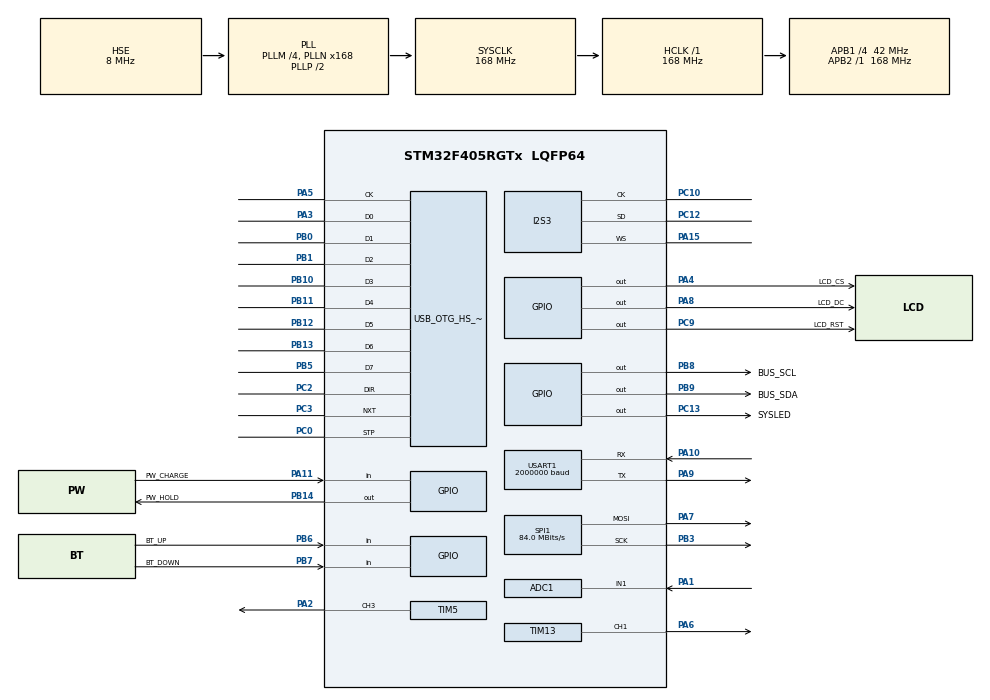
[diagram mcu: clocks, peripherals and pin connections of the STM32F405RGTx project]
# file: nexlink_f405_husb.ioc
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ADC1.Channel-0\#ChannelRegularConversion=ADC_CHANNEL_1
ADC1.ExternalTrigConv=ADC_SOFTWARE_START
ADC1.NbrOfConversionFlag=1
ADC1.Rank-0\#ChannelRegularConversion=1
ADC1.SamplingTime-0\#ChannelRegularConversion=ADC_SAMPLETIME_3CYCLES
ADC1.master=1
Dma.Request0=SPI1_TX
Dma.Request1=SPI3_RX
Dma.SPI1_TX.0.Direction=DMA_MEMORY_TO_PERIPH
Dma.SPI1_TX.0.FIFOMode=DMA_FIFOMODE_DISABLE
Dma.SPI1_TX.0.Instance=DMA2_Stream3
Dma.SPI1_TX.0.MemDataAlignment=DMA_MDATAALIGN_BYTE
Dma.SPI1_TX.0.MemInc=DMA_MINC_ENABLE
Dma.SPI1_TX.0.Mode=DMA_NORMAL
Dma.SPI1_TX.0.PeriphDataAlignment=DMA_PDATAALIGN_BYTE
Dma.SPI1_TX.0.PeriphInc=DMA_PINC_DISABLE
Dma.SPI1_TX.0.Priority=DMA_PRIORITY_LOW
Dma.SPI3_RX.1.Direction=DMA_PERIPH_TO_MEMORY
Dma.SPI3_RX.1.FIFOMode=DMA_FIFOMODE_DISABLE
Dma.SPI3_RX.1.Instance=DMA1_Stream0
Dma.SPI3_RX.1.MemDataAlignment=DMA_MDATAALIGN_WORD
Dma.SPI3_RX.1.MemInc=DMA_MINC_ENABLE
Dma.SPI3_RX.1.Mode=DMA_CIRCULAR
Dma.SPI3_RX.1.PeriphDataAlignment=DMA_PDATAALIGN_WORD
Dma.SPI3_RX.1.PeriphInc=DMA_PINC_DISABLE
Dma.SPI3_RX.1.Priority=DMA_PRIORITY_LOW
I2S3.AudioFreq=I2S_AUDIOFREQ_16K
I2S3.DataFormat=I2S_DATAFORMAT_24B
I2S3.ErrorAudioFreq=-0.26 %
I2S3.FullDuplexMode=I2S_FULLDUPLEXMODE_DISABLE
I2S3.Instance=SPI$Index
I2S3.Mode=I2S_MODE_MASTER_RX
I2S3.RealAudioFreq=15.957 KHz
I2S3.VirtualMode=I2S_MODE_MASTER
Mcu.Family=STM32F4
Mcu.Name=STM32F405RGTx
Mcu.Package=LQFP64
NVIC.DMA1_Stream0_IRQn=true\:0\:0\:false\:false\:true\:false\:true\:true
NVIC.DMA2_Stream3_IRQn=true\:0\:0\:false\:false\:true\:false\:true\:true
NVIC.OTG_HS_IRQn=true\:0\:0\:false\:false\:true\:false\:true\:true
NVIC.PriorityGroup=NVIC_PRIORITYGROUP_4
NVIC.TIM3_IRQn=true\:0\:0\:false\:false\:true\:true\:true\:true
NVIC.TIM6_DAC_IRQn=true\:15\:0\:false\:false\:true\:false\:true\:true
NVIC.TIM8_TRG_COM_TIM14_IRQn=true\:0\:0\:false\:false\:true\:true\:true\:true
NVIC.TimeBase=TIM6_DAC_IRQn
NVIC.TimeBaseIP=TIM6
PA1.Signal=ADCx_IN1
PA10.Mode=Asynchronous
PA10.Signal=USART1_RX
PA11.GPIO_Label=PW_CHARGE
PA11.GPIO_PuPd=GPIO_PULLUP
PA11.Signal=GPIO_Input
PA13.Mode=Serial_Wire
PA13.Signal=SYS_JTMS-SWDIO
PA14.Mode=Serial_Wire
PA14.Signal=SYS_JTCK-SWCLK
PA15.Mode=Half_Duplex_Master
PA15.Signal=I2S3_WS
PA2.Signal=S_TIM5_CH3
PA3.Mode=Device_HS
PA3.Signal=USB_OTG_HS_ULPI_D0
PA4.GPIO_Label=LCD_CS
PA4.GPIO_ModeDefaultOutputPP=GPIO_MODE_OUTPUT_PP
PA4.GPIO_PuPd=GPIO_PULLUP
PA4.GPIO_Speed=GPIO_SPEED_FREQ_VERY_HIGH
PA4.PinState=GPIO_PIN_SET
PA4.Signal=GPIO_Output
PA5.Mode=Device_HS
PA5.Signal=USB_OTG_HS_ULPI_CK
PA6.Signal=S_TIM13_CH1
PA7.Mode=TX_Only_Simplex_Unidirect_Master
PA7.Signal=SPI1_MOSI
PA8.GPIO_Label=LCD_DC
PA8.GPIO_ModeDefaultOutputPP=GPIO_MODE_OUTPUT_PP
PA8.GPIO_PuPd=GPIO_PULLUP
PA8.GPIO_Speed=GPIO_SPEED_FREQ_VERY_HIGH
PA8.PinState=GPIO_PIN_SET
PA8.Signal=GPIO_Output
PA9.Mode=Asynchronous
PA9.Signal=USART1_TX
PB0.Mode=Device_HS
PB0.Signal=USB_OTG_HS_ULPI_D1
PB1.Mode=Device_HS
PB1.Signal=USB_OTG_HS_ULPI_D2
PB10.Mode=Device_HS
PB10.Signal=USB_OTG_HS_ULPI_D3
PB11.Mode=Device_HS
PB11.Signal=USB_OTG_HS_ULPI_D4
PB12.Mode=Device_HS
PB12.Signal=USB_OTG_HS_ULPI_D5
PB13.Mode=Device_HS
PB13.Signal=USB_OTG_HS_ULPI_D6
PB14.GPIO_Label=PW_HOLD
PB14.GPIO_ModeDefaultOutputPP=GPIO_MODE_OUTPUT_PP
PB14.GPIO_PuPd=GPIO_PULLUP
PB14.GPIO_Speed=GPIO_SPEED_FREQ_LOW
PB14.PinState=GPIO_PIN_SET
PB14.Signal=GPIO_Output
PB3.Mode=TX_Only_Simplex_Unidirect_Master
PB3.Signal=SPI1_SCK
PB5.Mode=Device_HS
PB5.Signal=USB_OTG_HS_ULPI_D7
PB6.GPIO_Label=BT_UP
PB6.GPIO_PuPd=GPIO_PULLDOWN
PB6.Signal=GPIO_Input
PB7.GPIO_Label=BT_DOWN
PB7.GPIO_PuPd=GPIO_PULLDOWN
PB7.Signal=GPIO_Input
PB8.GPIO_Label=BUS_SCL
PB8.Signal=GPIO_Output
PB9.GPIO_Label=BUS_SDA
PB9.Signal=GPIO_Output
PC0.Mode=Device_HS
PC0.Signal=USB_OTG_HS_ULPI_STP
PC10.Mode=Half_Duplex_Master
PC10.Signal=I2S3_CK
PC12.Mode=Half_Duplex_Master
PC12.Signal=I2S3_SD
PC13-ANTI_TAMP.GPIO_Label=SYSLED
PC13-ANTI_TAMP.GPIO_ModeDefaultOutputPP=GPIO_MODE_OUTPUT_PP
PC13-ANTI_TAMP.GPIO_PuPd=GPIO_PULLUP
PC13-ANTI_TAMP.GPIO_Speed=GPIO_SPEED_FREQ_LOW
PC13-ANTI_TAMP.PinState=GPIO_PIN_RESET
PC13-ANTI_TAMP.Signal=GPIO_Output
PC14-OSC32_IN.Mode=LSE-External-Oscillator
PC14-OSC32_IN.Signal=RCC_OSC32_IN
PC15-OSC32_OUT.Mode=LSE-External-Oscillator
PC15-OSC32_OUT.Signal=RCC_OSC32_OUT
PC2.Mode=Device_HS
PC2.Signal=USB_OTG_HS_ULPI_DIR
PC3.Mode=Device_HS
PC3.Signal=USB_OTG_HS_ULPI_NXT
PC9.GPIO_Label=LCD_RST
PC9.GPIO_PuPd=GPIO_PULLUP
PC9.GPIO_Speed=GPIO_SPEED_FREQ_VERY_HIGH
PC9.PinState=GPIO_PIN_SET
PC9.Signal=GPIO_Output
PH0-OSC_IN.Mode=HSE-External-Oscillator
PH0-OSC_IN.Signal=RCC_OSC_IN
PH1-OSC_OUT.Mode=HSE-External-Oscillator
PH1-OSC_OUT.Signal=RCC_OSC_OUT
ProjectManager.HeapSize=0x800
ProjectManager.StackSize=0x1000
ProjectManager.TargetToolchain=MDK-ARM V5.32
RCC.48MHZClocksFreq_Value=48000000
RCC.AHBFreq_Value=168000000
RCC.APB1CLKDivider=RCC_HCLK_DIV4
RCC.APB1Freq_Value=42000000
RCC.APB1TimFreq_Value=84000000
RCC.APB2Freq_Value=168000000
RCC.APB2TimFreq_Value=168000000
RCC.CortexFreq_Value=168000000
RCC.HCLKFreq_Value=168000000
RCC.HSE_VALUE=8000000
RCC.HSI_VALUE=16000000
RCC.PLLM=4
RCC.PLLN=168
RCC.PLLQ=7
RCC.PLLSourceVirtual=RCC_PLLSOURCE_HSE
RCC.SYSCLKFreq_VALUE=168000000
RCC.SYSCLKSource=RCC_SYSCLKSOURCE_PLLCLK
RCC.VCOOutputFreq_Value=336000000
SH.ADCx_IN1.0=ADC1_IN1,IN1
SH.S_TIM13_CH1.0=TIM13_CH1,PWM Generation1 CH1
SH.S_TIM5_CH3.0=TIM5_CH3,PWM Generation3 CH3
SPI1.BaudRatePrescaler=SPI_BAUDRATEPRESCALER_2
SPI1.CalculateBaudRate=84.0 MBits/s
SPI1.Direction=SPI_DIRECTION_2LINES
SPI1.Mode=SPI_MODE_MASTER
SPI1.VirtualType=VM_MASTER
TIM13.Channel=TIM_CHANNEL_1
TIM13.OCPolarity_1=TIM_OCPOLARITY_HIGH
TIM13.Period=1000-1
TIM13.Prescaler=84-1
TIM13.Pulse=0
TIM14.Period=9999
TIM14.Prescaler=8399
TIM3.Period=999
TIM3.Prescaler=84-1
TIM5.Channel-PWM\ Generation3\ CH3=TIM_CHANNEL_3
TIM5.Period=1000-1
TIM5.Prescaler=83
TIM5.Pulse-PWM\ Generation3\ CH3=500
USART1.BaudRate=2000000
USART1.VirtualMode=VM_ASYNC
USB_DEVICE.CLASS_NAME_HS=CDC
USB_DEVICE.VirtualMode-CDC_HS=Cdc
USB_DEVICE.VirtualModeHS=Cdc_HS
USB_OTG_HS.VirtualMode-Device_HS=Device_HS
VP_CRC_VS_CRC.Mode=CRC_Activate
VP_RNG_VS_RNG.Mode=RNG_Activate
VP_SYS_VS_tim6.Mode=TIM6
VP_TIM13_VS_ClockSourceINT.Mode=Enable_Timer
VP_TIM14_VS_ClockSourceINT.Mode=Enable_Timer
VP_TIM3_VS_ClockSourceINT.Mode=Internal
VP_TIM5_VS_ClockSourceINT.Mode=Internal
VP_USB_DEVICE_VS_USB_DEVICE_CDC_HS.Mode=CDC_HS
VP_WWDG_VS_WWDG.Mode=WWDG_Activate
WWDG.Counter=127
WWDG.Prescaler=WWDG_PRESCALER_8
WWDG.Window=127
board=custom

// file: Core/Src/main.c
/* USER CODE BEGIN Header */
/**
  ******************************************************************************
  * @file           : main.c
  * @brief          : Main program body
  ******************************************************************************
  * @attention
  *
  * Copyright (c) 2024 STMicroelectronics.
  * All rights reserved.
  *
  * This software is licensed under terms that can be found in the LICENSE file
  * in the root directory of this software component.
  * If no LICENSE file comes with this software, it is provided AS-IS.
  *
  ******************************************************************************
  */
/* USER CODE END Header */
#include "main.h"
#include "adc.h"
#include "crc.h"
#include "dma.h"
#include "i2s.h"
#include "rng.h"
#include "spi.h"
#include "tim.h"
#include "usart.h"
#include "wwdg.h"
#include "gpio.h"

/* USER CODE BEGIN Includes */
#include <stdarg.h>
#include "usbd_def.h"
#include "usbd_desc.h"
#include "usbd_core.h"
#include "usbd_nex_link.h"
#include "nex_usb.h"
#include "stdio.h"
#include "queue.h"
#include "nv3030b.h"
#include "lv_anim_light.h"
#include "easy_ui.h"
#include "easy_ui_user_app.h"
#include "easy_key.h"
#include "mpu6050.h"
#include "inv_mpu.h"
#include "inv_mpu_dmp_motion_driver.h"
#include "bmp280.h"
#include "fftaffect.h"
#include "rx8900.h"
//#include "arm_math.h"
//#include "chipmunkdemo.h"
/* USER CODE END Includes */

/* USER CODE BEGIN PV */
USBD_HandleTypeDef hUSB;

/* USER CODE END PV */

void SystemClock_Config(void);

/* USER CODE BEGIN 0 */
//int fputc(int ch, FILE* f)
//{
//  HAL_UART_Transmit(&huart1, (uint8_t*)&ch, 1, HAL_MAX_DELAY);
//  return ch;
//}

uint8_t debug_buf[DEBUG_BUF_SIZE] = {0};
extern bool usbavaliable;
int usb_printf(const char* pcFormat, ...)
{
  va_list args;
  int len = 0;
  memset(debug_buf, 0, sizeof debug_buf);
  va_start(args, pcFormat);

  len = vsnprintf((char*)debug_buf, sizeof(debug_buf), pcFormat, args);
	if(usbavaliable)
		USBD_NEX_LINK_Transmit(&hUSB, debug_buf, len);
  va_end(args);

  return len;
}

uint16_t grambuff[USB_BLOCK_SIZE];
uint16_t grambuff_usb[USB_BLOCK_SIZE];

nex_usb_des des = {
.brides = {
	.brightness = 300,
	.damp = 500
}
};
lv_anim_t anim_backlight;
void set_brightness_value(void *obj, int32_t value)
{
	// dbmsg("brightness: %d", value);
	Set_PWM_DutyCycle(value%1000);
}

void ready_brightness_value(struct _lv_anim_t *obj)
{
	dbmsg("brightness: %d/1000", ((lv_anim_t*)obj)->end_value);
	if(((lv_anim_t*)obj)->end_value == 0)
	{
			dbusbmsg("system shutdown");
			HAL_GPIO_WritePin(PW_HOLD_GPIO_Port, PW_HOLD_Pin, GPIO_PIN_RESET);
	}
}

//void HAL_TIM_PeriodElapsedCallback(TIM_HandleTypeDef *htim)
//{
//}

lv_anim_t anim_beep;
void set_beep_value(void *obj, int32_t value)
{
	Set_Freqeucy_Cycle(value);
}

void ready_beep_value(struct _lv_anim_t *obj)
{
	if(((lv_anim_t*)obj)->end_value != 0)
	{
			dbusbmsg("beep");
			lv_anim_start(&anim_beep, 0, 100);
	}
}

/* USER CODE END 0 */

int main(void)
{
  /* USER CODE BEGIN 1 */
    __enable_irq();
  /* USER CODE END 1 */

  /* MCU Configuration--------------------------------------------------------*/

  /* Reset of all peripherals, Initializes the Flash interface and the Systick. */
  HAL_Init();

  /* Configure the system clock */
  SystemClock_Config();

  /* Initialize all configured peripherals */
  MX_GPIO_Init();
  MX_USART1_UART_Init();
  MX_DMA_Init();
  MX_SPI1_Init();
  MX_TIM13_Init();
  MX_CRC_Init();
  MX_RNG_Init();
  MX_TIM3_Init();
  MX_I2S3_Init();
  MX_ADC1_Init();
  MX_TIM14_Init();
  MX_TIM5_Init();
  /* USER CODE BEGIN 2 */
	MenuInit();
  dbmsg("system initialized");

	set_brightness_value(NULL, 0);
  USBD_Init(&hUSB, &FS_Desc, DEVICE_HS);
  USBD_RegisterClass(&hUSB, &USBD_NEX_LINK);
  USBD_NEX_LINK_Init(&hUSB, grambuff_usb, &des);
  USBD_Start(&hUSB);
  HAL_TIM_PWM_Start(&htim13, TIM_CHANNEL_1);
  HAL_TIM_PWM_Start(&htim5, TIM_CHANNEL_3);
	HAL_TIM_Base_Start_IT(&htim3);
	HAL_TIM_Base_Start_IT(&htim14);
	RX8900_Init();
	EasyUIInit(1);
	dbmsg("MPU_Init = %d", MPU_Init());
//	dbmsg("mpu_init = %d", mpu_init());
	BMP280_Init();
	lv_anim_add(&anim_backlight, 0, set_brightness_value);
	lv_anim_ready_set_cb(&anim_backlight, ready_brightness_value);

	lv_anim_add(&anim_beep, 0, set_beep_value);
	lv_anim_path_set_cb(&anim_beep, lv_anim_path_onoff);
	lv_anim_ready_set_cb(&anim_beep, ready_beep_value);
  dbmsg("application initialized and ready to receive user input, poised to execute operations seamlessly!\nbrightness: %d", des.brides.brightness);
	lv_anim_start(&anim_backlight, des.brides.brightness, des.brides.damp);

  /* USER CODE END 2 */

  /* Infinite loop */
  while(1)
  {

    /* USER CODE BEGIN 3 */
		lv_anim_run();
		EasyUIEvent(5);
		EventJump();
		MPU_CRL(10);
		extern bool mpu_debug_en;
		if(mpu_debug_en)
			MPU_Test(1000);
//		BMP280_Test(1000);
//		RX8900_Test(1000);
  }
  /* USER CODE END 3 */
}

void SystemClock_Config(void)
{
  RCC_OscInitTypeDef RCC_OscInitStruct = {0};
  RCC_ClkInitTypeDef RCC_ClkInitStruct = {0};

  /** Configure the main internal regulator output voltage
  */
  __HAL_RCC_PWR_CLK_ENABLE();
  __HAL_PWR_VOLTAGESCALING_CONFIG(PWR_REGULATOR_VOLTAGE_SCALE1);

  /** Initializes the RCC Oscillators according to the specified parameters
  * in the RCC_OscInitTypeDef structure.
  */
  RCC_OscInitStruct.OscillatorType = RCC_OSCILLATORTYPE_HSE;
  RCC_OscInitStruct.HSEState = RCC_HSE_ON;
  RCC_OscInitStruct.PLL.PLLState = RCC_PLL_ON;
  RCC_OscInitStruct.PLL.PLLSource = RCC_PLLSOURCE_HSE;
  RCC_OscInitStruct.PLL.PLLM = 4;
  RCC_OscInitStruct.PLL.PLLN = 168;
  RCC_OscInitStruct.PLL.PLLP = RCC_PLLP_DIV2;
  RCC_OscInitStruct.PLL.PLLQ = 7;
  if (HAL_RCC_OscConfig(&RCC_OscInitStruct) != HAL_OK)
  {
    Error_Handler();
  }

  /** Initializes the CPU, AHB and APB buses clocks
  */
  RCC_ClkInitStruct.ClockType = RCC_CLOCKTYPE_HCLK|RCC_CLOCKTYPE_SYSCLK
                              |RCC_CLOCKTYPE_PCLK1|RCC_CLOCKTYPE_PCLK2;
  RCC_ClkInitStruct.SYSCLKSource = RCC_SYSCLKSOURCE_PLLCLK;
  RCC_ClkInitStruct.AHBCLKDivider = RCC_SYSCLK_DIV1;
  RCC_ClkInitStruct.APB1CLKDivider = RCC_HCLK_DIV4;
  RCC_ClkInitStruct.APB2CLKDivider = RCC_HCLK_DIV1;

  if (HAL_RCC_ClockConfig(&RCC_ClkInitStruct, FLASH_LATENCY_5) != HAL_OK)
  {
    Error_Handler();
  }
}

/* USER CODE BEGIN 4 */
void HAL_I2S_RxCpltCallback(I2S_HandleTypeDef *hi2s)
{
	if(hi2s==&hi2s3){
//		for (int i = 0;i < 256; i++)
//		{
// 			fft_input_buffer[i] =(adc_buffer[0+i*4]<<8)+(adc_buffer[1+i*4]>>8);
//
//			if(fft_input_buffer[i] & 0x800000){//negative
//					fft_input_buffer[i]|=0xff000000;
//			}
//		}
	}
}
#define BOOTLOADER_ADDRESS 0x08000000  // BootLoader在Flash中的起始地址

typedef void (*pFunction)(void);
pFunction JumpAddress;

void JumpToBootloader (void) //异常开始
{
    // 关中断
    __disable_irq();

    // 设置向量表基地址为BootLoader的地址
    SCB->VTOR = BOOTLOADER_ADDRESS;

    // 取得BootLoader地址的函数指针
    JumpAddress = (pFunction)*(volatile uint32_t*)(BOOTLOADER_ADDRESS + 4);

    // 跳转到BootLoader
    JumpAddress();
}
/* USER CODE END 4 */

void HAL_TIM_PeriodElapsedCallback(TIM_HandleTypeDef *htim)
{
  if (htim->Instance == TIM6) {
    HAL_IncTick();
  }
  /* USER CODE BEGIN Callback 1 */

	if (htim->Instance == htim3.Instance)
	{
		EasyKeyScanKeyState();
		EasyKeyUserApp();
		EasyUIKeyActionMonitor();
//		dbmsg("tick: %d", HAL_GetTick());
	}
	if (htim->Instance == htim14.Instance)
	{
		lowBatteryAction();
	}
  /* USER CODE END Callback 1 */
}

void Error_Handler(void)
{
  /* USER CODE BEGIN Error_Handler_Debug */
  /* User can add his own implementation to report the HAL error return state */
  __disable_irq();
	HAL_GPIO_WritePin(PW_HOLD_GPIO_Port, PW_HOLD_Pin, GPIO_PIN_RESET); //cut the power

  while(1)
  {
  }
  /* USER CODE END Error_Handler_Debug */
}
